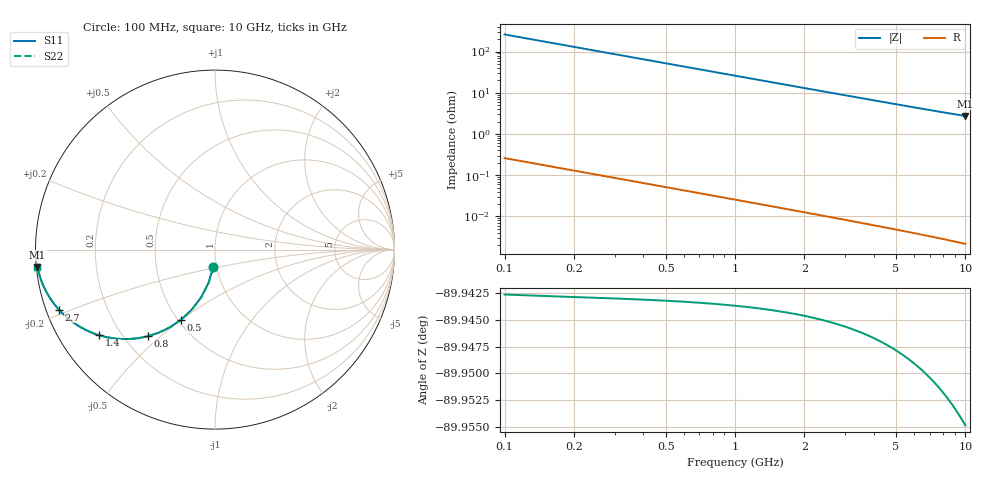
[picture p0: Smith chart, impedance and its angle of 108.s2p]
# Hz S RI R 50.00
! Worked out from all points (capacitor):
!   100 points, 100 MHz to 10 GHz, reference 50 ohm
!   read as one part in shunt: C = 6.12 pF near 100 MHz
!   lowest |Z| = 2.73 ohm at 10 GHz (marker M1)
!   S11 on the Smith chart (normalised r, x): 100 MHz: 0.96, -0.19; 500 MHz: 0.52, -0.50; 800 MHz: 0.30, -0.46; 1.4 GHz: 0.12, -0.33; 2.7 GHz: 0.04, -0.19; 10 GHz: 0.00, -0.05
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1e8  -0.00923 -0.0952  0.9907 -0.0953  0.9907 -0.0953  -0.00923 -0.0952
2e8  -0.0358 -0.1852  0.9642 -0.1855  0.9642 -0.1855  -0.0358 -0.1852
3e8  -0.077 -0.2659  0.923 -0.2663  0.923 -0.2663  -0.077 -0.2659
4e8  -0.129 -0.3345  0.8709 -0.335  0.8709 -0.335  -0.129 -0.3345
5e8  -0.1879 -0.3898  0.8121 -0.3904  0.8121 -0.3904  -0.1879 -0.3898
6e8  -0.2498 -0.4321  0.7502 -0.4328  0.7502 -0.4328  -0.2498 -0.4321
7e8  -0.3118 -0.4623  0.6882 -0.4631  0.6882 -0.4631  -0.3118 -0.4623
8e8  -0.3716 -0.4823  0.6283 -0.4832  0.6283 -0.4832  -0.3716 -0.4823
9e8  -0.428 -0.4938  0.572 -0.4948  0.572 -0.4948  -0.428 -0.4938
1.1e9  -0.5276 -0.4981  0.4723 -0.4994  0.4723 -0.4994  -0.5276 -0.4981
1.2e9  -0.5706 -0.4938  0.4293 -0.4952  0.4293 -0.4952  -0.5706 -0.4938
1.4e9  -0.6438 -0.4775  0.3561 -0.4792  0.3561 -0.4792  -0.6438 -0.4775
1.6e9  -0.7024 -0.4558  0.2976 -0.4576  0.2976 -0.4576  -0.7024 -0.4558
1.8e9  -0.7491 -0.432  0.2509 -0.4341  0.2509 -0.4341  -0.7491 -0.432
2.2e9  -0.8167 -0.3851  0.1833 -0.3877  0.1833 -0.3877  -0.8167 -0.3851
2.7e9  -0.8702 -0.334  0.1298 -0.3372  0.1298 -0.3372  -0.8702 -0.334
3.4e9  -0.9139 -0.278  0.0861 -0.282  0.0861 -0.282  -0.9139 -0.278
4.2e9  -0.9418 -0.2311  0.0582 -0.236  0.0582 -0.236  -0.9418 -0.2311
5.1e9  -0.9597 -0.193  0.0402 -0.199  0.0402 -0.199  -0.9597 -0.193
6.7e9  -0.9763 -0.1475  0.0236 -0.1555  0.0236 -0.1555  -0.9763 -0.1475
8.4e9  -0.9848 -0.1165  0.0151 -0.1266  0.0151 -0.1266  -0.9848 -0.1165
1e10  -0.9893 -0.0961  0.0106 -0.1082  0.0106 -0.1082  -0.9893 -0.0961
